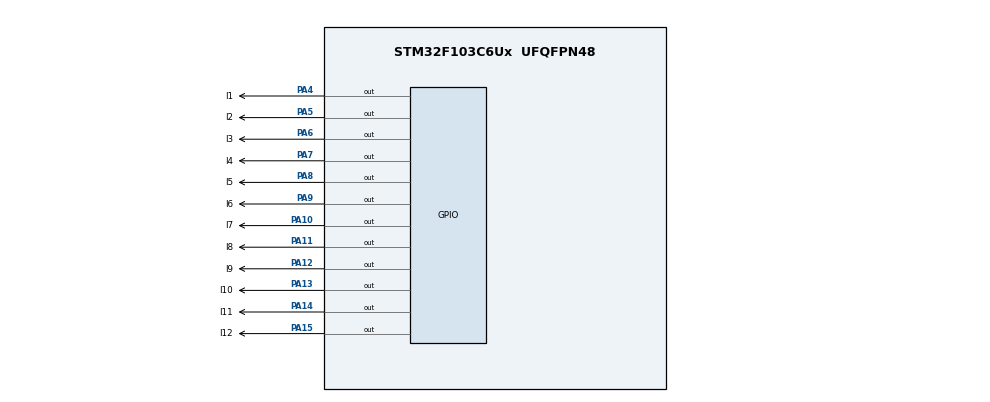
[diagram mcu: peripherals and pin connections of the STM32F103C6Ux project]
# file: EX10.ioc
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Mcu.Family=STM32F1
Mcu.Name=STM32F103C6Ux
Mcu.Package=UFQFPN48
NVIC.PriorityGroup=NVIC_PRIORITYGROUP_4
PA10.GPIO_Label=l7
PA10.Signal=GPIO_Output
PA11.GPIO_Label=l8
PA11.Signal=GPIO_Output
PA12.GPIO_Label=l9
PA12.Signal=GPIO_Output
PA13.GPIO_Label=l10
PA13.Signal=GPIO_Output
PA14.GPIO_Label=l11
PA14.Signal=GPIO_Output
PA15.GPIO_Label=l12
PA15.Signal=GPIO_Output
PA4.GPIO_Label=l1
PA4.Signal=GPIO_Output
PA5.GPIO_Label=l2
PA5.Signal=GPIO_Output
PA6.GPIO_Label=l3
PA6.Signal=GPIO_Output
PA7.GPIO_Label=l4
PA7.Signal=GPIO_Output
PA8.GPIO_Label=l5
PA8.Signal=GPIO_Output
PA9.GPIO_Label=l6
PA9.Signal=GPIO_Output
ProjectManager.HeapSize=0x200
ProjectManager.StackSize=0x400
ProjectManager.TargetToolchain=STM32CubeIDE
RCC.APB1Freq_Value=8000000
RCC.APB2Freq_Value=8000000
VP_SYS_VS_ND.Mode=No_Debug
board=custom

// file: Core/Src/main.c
/* USER CODE BEGIN Header */
/**
  ******************************************************************************
  * @file           : main.c
  * @brief          : Main program body
  ******************************************************************************
  * @attention
  *
  * <h2><center>&copy; Copyright (c) 2022 STMicroelectronics.
  * All rights reserved.</center></h2>
  *
  * This software component is licensed by ST under BSD 3-Clause license,
  * the "License"; You may not use this file except in compliance with the
  * License. You may obtain a copy of the License at:
  *                        opensource.org/licenses/BSD-3-Clause
  *
  ******************************************************************************
  */
/* USER CODE END Header */
#include "main.h"

void SystemClock_Config(void);
static void MX_GPIO_Init(void);

/* USER CODE BEGIN 0 */

void clearAllClock () {
	HAL_GPIO_WritePin (GPIOA,l1_Pin|l2_Pin|l3_Pin|l4_Pin|l5_Pin|l6_Pin|l7_Pin|l8_Pin|l9_Pin|l10_Pin|l11_Pin|l12_Pin, GPIO_PIN_SET );
}
void setNumberOnClock(int num){
	  switch(num){
	  case 0:
		  HAL_GPIO_WritePin(l1_GPIO_Port,l1_Pin, GPIO_PIN_RESET) ;
		  break;
	  case 1:
		  HAL_GPIO_WritePin(l2_GPIO_Port,l2_Pin, GPIO_PIN_RESET) ;
		  break;
	  case 2:
		  HAL_GPIO_WritePin(l3_GPIO_Port,l3_Pin, GPIO_PIN_RESET) ;
		  break;
	  case 3:
		  HAL_GPIO_WritePin(l4_GPIO_Port,l4_Pin, GPIO_PIN_RESET) ;
		  break;
	  case 4:
		  HAL_GPIO_WritePin(l5_GPIO_Port,l5_Pin, GPIO_PIN_RESET) ;
		  break;
	  case 5:
		  HAL_GPIO_WritePin(l6_GPIO_Port,l6_Pin, GPIO_PIN_RESET) ;
		  break;
	  case 6:
		  HAL_GPIO_WritePin(l7_GPIO_Port,l7_Pin, GPIO_PIN_RESET) ;
		  break;
	  case 7:
		  HAL_GPIO_WritePin(l8_GPIO_Port,l8_Pin, GPIO_PIN_RESET) ;
		  break;
	  case 8:
		  HAL_GPIO_WritePin(l9_GPIO_Port,l9_Pin, GPIO_PIN_RESET) ;
		  break;
	  case 9:
		  HAL_GPIO_WritePin(l10_GPIO_Port,l10_Pin, GPIO_PIN_RESET) ;
		  break;
	  case 10:
		  HAL_GPIO_WritePin(l11_GPIO_Port,l11_Pin, GPIO_PIN_RESET) ;
		  break;
	  case 11:
		  HAL_GPIO_WritePin(l12_GPIO_Port,l12_Pin, GPIO_PIN_RESET) ;
		  break;
	  }
}
void clearNumberOnClock(int num){
	  switch(num){
	  case 0:
		  HAL_GPIO_WritePin(l1_GPIO_Port,l1_Pin, GPIO_PIN_SET) ;
		  break;
	  case 1:
		  HAL_GPIO_WritePin(l2_GPIO_Port,l2_Pin, GPIO_PIN_SET) ;
		  break;
	  case 2:
		  HAL_GPIO_WritePin(l3_GPIO_Port,l3_Pin, GPIO_PIN_SET) ;
		  break;
	  case 3:
		  HAL_GPIO_WritePin(l4_GPIO_Port,l4_Pin, GPIO_PIN_SET) ;
		  break;
	  case 4:
		  HAL_GPIO_WritePin(l5_GPIO_Port,l5_Pin, GPIO_PIN_SET) ;
		  break;
	  case 5:
		  HAL_GPIO_WritePin(l6_GPIO_Port,l6_Pin, GPIO_PIN_SET) ;
		  break;
	  case 6:
		  HAL_GPIO_WritePin(l7_GPIO_Port,l7_Pin, GPIO_PIN_SET) ;
		  break;
	  case 7:
		  HAL_GPIO_WritePin(l8_GPIO_Port,l8_Pin, GPIO_PIN_SET) ;
		  break;
	  case 8:
		  HAL_GPIO_WritePin(l9_GPIO_Port,l9_Pin, GPIO_PIN_SET) ;
		  break;
	  case 9:
		  HAL_GPIO_WritePin(l10_GPIO_Port,l10_Pin, GPIO_PIN_SET) ;
		  break;
	  case 10:
		  HAL_GPIO_WritePin(l11_GPIO_Port,l11_Pin, GPIO_PIN_SET) ;
		  break;
	  case 11:
		  HAL_GPIO_WritePin(l12_GPIO_Port,l12_Pin, GPIO_PIN_SET) ;
		  break;
	  }
}
int hour = 0;
int minute = 0;
int second = 0;

void settime(int hr, int min, int sec){
	second++;
	if (second == 60){
		second = 0;
		minute++;
	}
	if (minute == 60){
		minute = 0;
		hour++;
	}
	if (hour >= 24){
		hour = 0;
	}
	clearAllClock();
	setNumberOnClock(hr);
	setNumberOnClock(min/5);
	setNumberOnClock(sec/5);
}
/* USER CODE END 0 */

int main(void)
{

  /* MCU Configuration--------------------------------------------------------*/

  /* Reset of all peripherals, Initializes the Flash interface and the Systick. */
  HAL_Init();

  /* Configure the system clock */
  SystemClock_Config();

  /* Initialize all configured peripherals */
  MX_GPIO_Init();

  /* Infinite loop */
  while (1)
  {
    /* USER CODE BEGIN 3 */
	  settime(hour, minute, second);
	  HAL_Delay(10);
  }
  /* USER CODE END 3 */
}

void SystemClock_Config(void)
{
  RCC_OscInitTypeDef RCC_OscInitStruct = {0};
  RCC_ClkInitTypeDef RCC_ClkInitStruct = {0};

  /** Initializes the RCC Oscillators according to the specified parameters
  * in the RCC_OscInitTypeDef structure.
  */
  RCC_OscInitStruct.OscillatorType = RCC_OSCILLATORTYPE_HSI;
  RCC_OscInitStruct.HSIState = RCC_HSI_ON;
  RCC_OscInitStruct.HSICalibrationValue = RCC_HSICALIBRATION_DEFAULT;
  RCC_OscInitStruct.PLL.PLLState = RCC_PLL_NONE;
  if (HAL_RCC_OscConfig(&RCC_OscInitStruct) != HAL_OK)
  {
    Error_Handler();
  }
  /** Initializes the CPU, AHB and APB buses clocks
  */
  RCC_ClkInitStruct.ClockType = RCC_CLOCKTYPE_HCLK|RCC_CLOCKTYPE_SYSCLK
                              |RCC_CLOCKTYPE_PCLK1|RCC_CLOCKTYPE_PCLK2;
  RCC_ClkInitStruct.SYSCLKSource = RCC_SYSCLKSOURCE_HSI;
  RCC_ClkInitStruct.AHBCLKDivider = RCC_SYSCLK_DIV1;
  RCC_ClkInitStruct.APB1CLKDivider = RCC_HCLK_DIV1;
  RCC_ClkInitStruct.APB2CLKDivider = RCC_HCLK_DIV1;

  if (HAL_RCC_ClockConfig(&RCC_ClkInitStruct, FLASH_LATENCY_0) != HAL_OK)
  {
    Error_Handler();
  }
}

static void MX_GPIO_Init(void)
{
  GPIO_InitTypeDef GPIO_InitStruct = {0};

  /* GPIO Ports Clock Enable */
  __HAL_RCC_GPIOA_CLK_ENABLE();

  /*Configure GPIO pin Output Level */
  HAL_GPIO_WritePin(GPIOA, l1_Pin|l2_Pin|l3_Pin|l4_Pin
                          |l5_Pin|l6_Pin|l7_Pin|l8_Pin
                          |l9_Pin|l10_Pin|l11_Pin|l12_Pin, GPIO_PIN_RESET);

  /*Configure GPIO pins : l1_Pin l2_Pin l3_Pin l4_Pin
                           l5_Pin l6_Pin l7_Pin l8_Pin
                           l9_Pin l10_Pin l11_Pin l12_Pin */
  GPIO_InitStruct.Pin = l1_Pin|l2_Pin|l3_Pin|l4_Pin
                          |l5_Pin|l6_Pin|l7_Pin|l8_Pin
                          |l9_Pin|l10_Pin|l11_Pin|l12_Pin;
  GPIO_InitStruct.Mode = GPIO_MODE_OUTPUT_PP;
  GPIO_InitStruct.Pull = GPIO_NOPULL;
  GPIO_InitStruct.Speed = GPIO_SPEED_FREQ_LOW;
  HAL_GPIO_Init(GPIOA, &GPIO_InitStruct);

}

void Error_Handler(void)
{
  __disable_irq();
  while (1)
  {
  }
}

/************************ (C) COPYRIGHT STMicroelectronics *****END OF FILE****/
